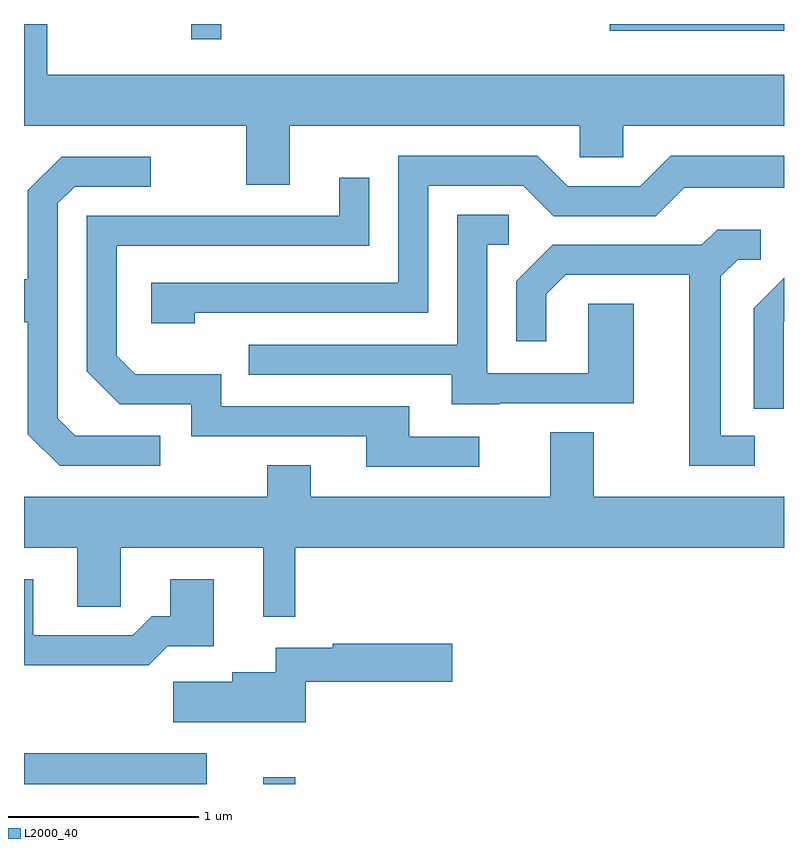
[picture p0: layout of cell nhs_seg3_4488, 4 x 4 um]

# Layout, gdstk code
import gdstk
lib = gdstk.Library(unit=1e-6, precision=1e-09)
def R(c, l, rs):  # rectangles x0, y0, x1, y1
    for r in rs: c.add(gdstk.rectangle(r[:2], r[2:], *l))
def P(c, l, *ps):  # polygons
    for p in ps: c.add(gdstk.Polygon(p, *l))
L2000_40 = (2000, 40)

nhs_seg3_4488 = lib.new_cell('nhs_seg3_4488')
R(nhs_seg3_4488, L2000_40, [(317.611,1115.892,318.574,1116.054), (318.871,1115.892,319.039,1115.928), (318.491,1119.813,318.649,1119.892), (320.693,1119.856,321.611,1119.892)])
P(nhs_seg3_4488, L2000_40, [(319.009,1119.356),(320.536,1119.356),(320.536,1119.191),(320.764,1119.191),(320.764,1119.356),(321.611,1119.356),(321.611,1119.624),(317.734,1119.624),(317.734,1119.892),(317.611,1119.892),(317.611,1119.356),(318.781,1119.356),(318.781,1119.046),(319.009,1119.046)],
  [(318.509,1118.371),(319.739,1118.371),(319.739,1119.041),(320.239,1119.041),(320.399,1118.881),(320.937,1118.881),(321.087,1119.031),(321.611,1119.031),(321.611,1119.199),(321.014,1119.199),(320.854,1119.039),(320.472,1119.039),(320.312,1119.199),(319.581,1119.199),(319.581,1118.529),(318.281,1118.529),(318.281,1118.316),(318.509,1118.316)],
  [(318.328,1117.724),(317.882,1117.724),(317.789,1117.817),(317.789,1118.949),(317.877,1119.036),(318.278,1119.036),(318.278,1119.194),(317.809,1119.194),(317.631,1119.017),(317.631,1118.549),(317.611,1118.549),(317.611,1118.321),(317.631,1118.321),(317.631,1117.734),(317.799,1117.566),(318.328,1117.566)],
  [(320.008,1117.719),(319.639,1117.719),(319.639,1117.879),(318.649,1117.879),(318.649,1118.049),(318.197,1118.049),(318.099,1118.147),(318.099,1118.726),(319.429,1118.726),(319.429,1119.083),(319.271,1119.083),(319.271,1118.884),(317.941,1118.884),(317.941,1118.064),(318.114,1117.891),(318.491,1117.891),(318.491,1117.721),(319.411,1117.721),(319.411,1117.561),(320.008,1117.561)],
  [(320.115,1117.896),(320.819,1117.896),(320.819,1118.419),(320.581,1118.419),(320.581,1118.054),(320.049,1118.054),(320.049,1118.731),(320.163,1118.731),(320.163,1118.889),(319.891,1118.889),(319.891,1118.204),(318.793,1118.204),(318.793,1118.046),(319.861,1118.046),(319.861,1117.891),(320.115,1117.891)],
  [(321.458,1117.724),(321.279,1117.724),(321.279,1118.564),(321.367,1118.651),(321.488,1118.651),(321.488,1118.809),(321.259,1118.809),(321.179,1118.729),(320.394,1118.729),(320.201,1118.537),(320.201,1118.223),(320.359,1118.223),(320.359,1118.469),(320.462,1118.571),(321.111,1118.571),(321.111,1117.566),(321.458,1117.566)],
  [(321.609,1118.324),(321.611,1118.326),(321.611,1118.557),(321.451,1118.397),(321.451,1117.868),(321.609,1117.868)],
  [(319.039,1117.136),(321.611,1117.136),(321.611,1117.404),(320.609,1117.404),(320.609,1117.744),(320.381,1117.744),(320.381,1117.404),(319.119,1117.404),(319.119,1117.569),(318.891,1117.569),(318.891,1117.404),(317.611,1117.404),(317.611,1117.136),(317.891,1117.136),(317.891,1116.826),(318.119,1116.826),(318.119,1117.136),(318.871,1117.136),(318.871,1116.773),(319.039,1116.773)],
  [(318.367,1116.616),(318.609,1116.616),(318.609,1116.969),(318.381,1116.969),(318.381,1116.774),(318.284,1116.774),(318.184,1116.674),(317.659,1116.674),(317.659,1116.969),(317.611,1116.969),(317.611,1116.516),(318.267,1116.516)],
  [(319.094,1116.431),(319.864,1116.431),(319.864,1116.629),(319.236,1116.629),(319.236,1116.609),(318.936,1116.609),(318.936,1116.479),(318.706,1116.479),(318.706,1116.429),(318.396,1116.429),(318.396,1116.216),(319.094,1116.216)])

lib.write_gds('nhs_seg3_4488.gds')
